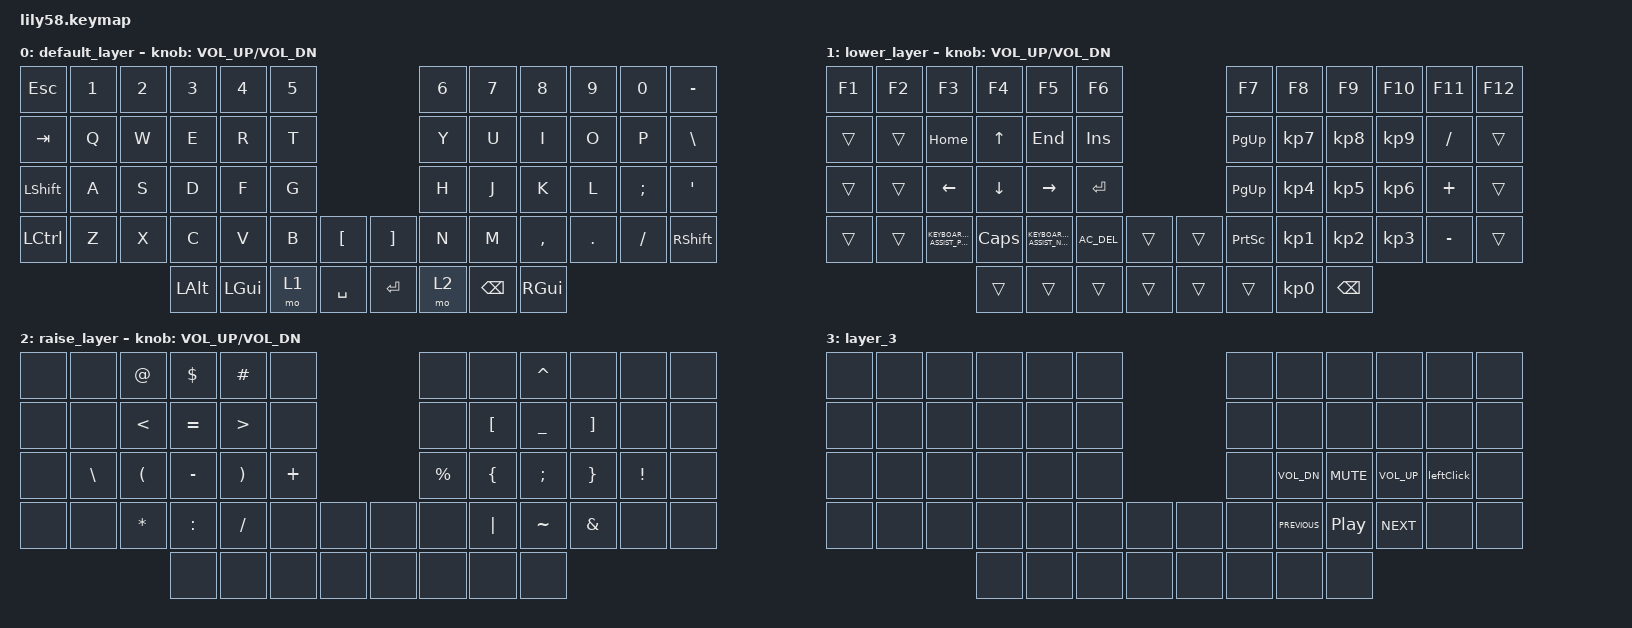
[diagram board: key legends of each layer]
/*
 * Copyright (c) 2020 The ZMK Contributors
 *
 * SPDX-License-Identifier: MIT
 */

#include <behaviors.dtsi>
#include <dt-bindings/zmk/keys.h>
#include <dt-bindings/zmk/mouse.h>

/ {
    macros {
        leftClick: leftClick {
            compatible = "zmk,behavior-macro";
            #binding-cells = <0>;
            bindings = <&macro_press>, <&mkp LCLK>;

            label = "LEFTCLICK";
            wait-ms = <50>;
            tap-ms = <10>;
        };
    };

    keymap {
        compatible = "zmk,keymap";

        default_layer {
            // ------------------------------------------------------------------------------------------------------------
            // |  ESC  |  1  |  2  |  3   |  4   |  5   |                   |  6   |  7    |  8    |  9   |   0   |   `   |
            // |  TAB  |  Q  |  W  |  E   |  R   |  T   |                   |  Y   |  U    |  I    |  O   |   P   |   -   |
            // |  CTRL |  A  |  S  |  D   |  F   |  G   |                   |  H   |  J    |  K    |  L   |   ;   |   '   |
            // | SHIFT |  Z  |  X  |  C   |  V   |  B   |   "["  |  |  "]"  |  N   |  M    |  ,    |  .   |   /   | SHIFT |
            //                     | ALT  | GUI  | LOWER|  SPACE |  | ENTER | RAISE| BSPC  | GUI   |

            bindings = <
&kp ESC           &kp N1  &kp N2  &kp N3    &kp N4    &kp N5                         &kp N6  &kp N7    &kp N8     &kp N9   &kp N0    &kp MINUS
&kp TAB           &kp Q   &kp W   &kp E     &kp R     &kp T                          &kp Y   &kp U     &kp I      &kp O    &kp P     &kp BACKSLASH
&kp LSHFT         &kp A   &kp S   &kp D     &kp F     &kp G                          &kp H   &kp J     &kp K      &kp L    &kp SEMI  &kp SQT
&kp LEFT_CONTROL  &kp Z   &kp X   &kp C     &kp V     &kp B   &kp LBKT     &kp RBKT  &kp N   &kp M     &kp COMMA  &kp DOT  &kp FSLH  &kp RSHFT
                                  &kp LALT  &kp LGUI  &mo 1   &kp SPACE    &kp RET   &mo 2   &kp BSPC  &kp RGUI
            >;

            sensor-bindings = <&inc_dec_kp C_VOL_UP C_VOL_DN>;
        };

        lower_layer {
            // ------------------------------------------------------------------------------------------------------------
            // | BTCLR | BT1 | BT2 |  BT3 |  BT4 |  BT5 |                   |      |       |       |      |       |       |
            // |  F1   |  F2 |  F3 |  F4  |  F5  |  F6  |                   |  F7  |  F8   |  F9   |  F10 |  F11  |  F12  |
            // |   `   |  !  |  @  |  #   |  $   |  %   |                   |  ^   |  &    |  *    |  (   |   )   |   ~   |
            // |       |     |     |      |      |      |        |  |       |      |  _    |  +    |  {   |   }   |  "|"  |
            //                     |      |      |      |        |  |       |      |       |       |

            bindings = <
&kp F1  &kp F2  &kp F3                                &kp F4          &kp F5                            &kp F6                          &kp F7           &kp F8           &kp F9           &kp F10          &kp F11    &kp F12
&trans  &trans  &kp HOME                              &kp UP_ARROW    &kp END                           &kp INS                         &kp PAGE_UP      &kp KP_NUMBER_7  &kp KP_NUMBER_8  &kp KP_NUMBER_9  &kp SLASH  &trans
&trans  &trans  &kp LEFT_ARROW                        &kp DOWN_ARROW  &kp RIGHT_ARROW                   &kp ENTER                       &kp PAGE_UP      &kp KP_NUMBER_4  &kp KP_NUMBER_5  &kp KP_NUMBER_6  &kp PLUS   &trans
&trans  &trans  &kp C_KEYBOARD_INPUT_ASSIST_PREVIOUS  &kp CLCK        &kp C_KEYBOARD_INPUT_ASSIST_NEXT  &kp C_AC_DEL  &trans    &trans  &kp PRINTSCREEN  &kp KP_NUMBER_1  &kp KP_NUMBER_2  &kp KP_NUMBER_3  &kp MINUS  &trans
                                                      &trans          &trans                            &trans        &trans    &trans  &trans           &kp KP_NUMBER_0  &kp BACKSPACE
            >;

            sensor-bindings = <&inc_dec_kp C_VOL_UP C_VOL_DN>;
        };

        raise_layer {
            // ------------------------------------------------------------------------------------------------------------
            // |       |     |     |      |      |      |                   |      |       |       |      |       |       |
            // |   `   |  1  |  2  |  3   |  4   |  5   |                   |  6   |   7   |   8   |  9   |   0   |       |
            // |   F1  |  F2 |  F3 |  F4  |  F5  |  F6  |                   |      |   <-  |   v   |  ^   |  ->   |       |
            // |   F7  |  F8 |  F9 |  F10 |  F11 |  F12 |        |  |       |  +   |   -   |   =   |  [   |   ]   |   \   |
            //                     |      |      |      |        |  |       |      |       |       |

            bindings = <
&none  &none          &kp AT_SIGN           &kp DOLLAR  &kp HASH               &none                     &none        &none             &kp CARET       &none              &none            &none
&none  &none          &kp LESS_THAN         &kp EQUAL   &kp GREATER_THAN       &none                     &none        &kp LEFT_BRACKET  &kp UNDERSCORE  &kp RIGHT_BRACKET  &none            &none
&none  &kp BACKSLASH  &kp LEFT_PARENTHESIS  &kp MINUS   &kp RIGHT_PARENTHESIS  &kp PLUS                  &kp PERCENT  &kp LEFT_BRACE    &kp SEMICOLON   &kp RIGHT_BRACE    &kp EXCLAMATION  &none
&none  &none          &kp ASTERISK          &kp COLON   &kp SLASH              &none     &none    &none  &none        &kp PIPE          &kp TILDE       &kp AMPERSAND      &none            &none
                                            &none       &none                  &none     &none    &none  &none        &none             &none
            >;

            sensor-bindings = <&inc_dec_kp C_VOL_UP C_VOL_DN>;
        };

        layer_3 {
            bindings = <
&none  &none  &none  &none  &none  &none                  &none  &none           &none             &none            &none       &none
&none  &none  &none  &none  &none  &none                  &none  &none           &none             &none            &none       &none
&none  &none  &none  &none  &none  &none                  &none  &kp C_VOL_DN    &kp K_MUTE        &kp C_VOLUME_UP  &leftClick  &none
&none  &none  &none  &none  &none  &none  &none    &none  &none  &kp C_PREVIOUS  &kp C_PLAY_PAUSE  &kp C_NEXT       &none       &none
                     &none  &none  &none  &none    &none  &none  &none           &none
            >;
        };
    };
};
